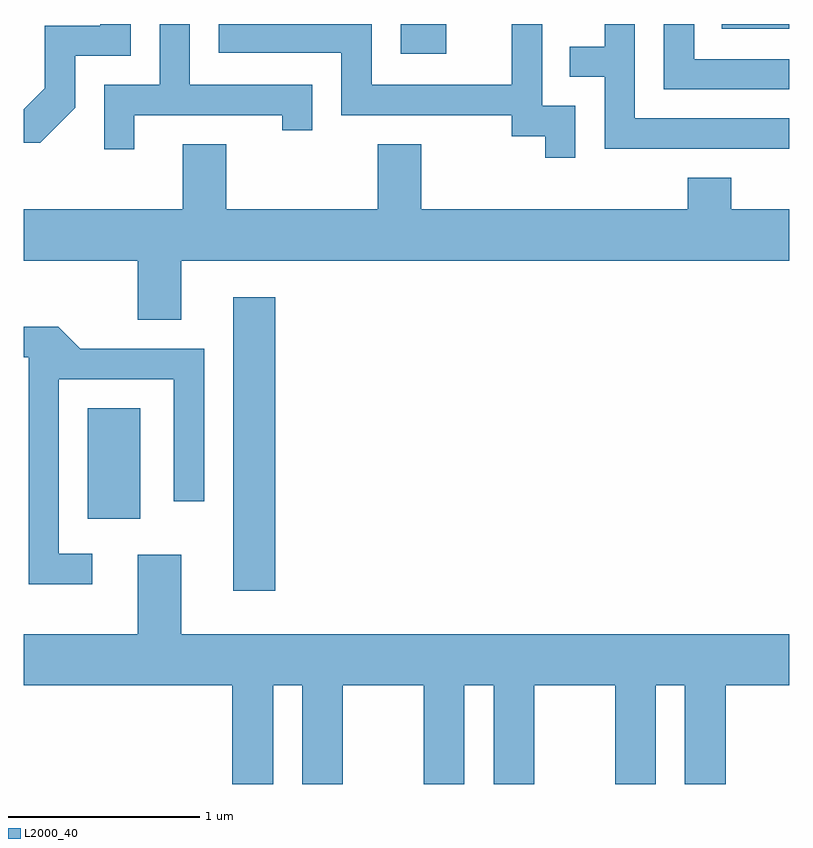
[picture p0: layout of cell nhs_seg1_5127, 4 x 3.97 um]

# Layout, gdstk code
import gdstk
lib = gdstk.Library(unit=1e-6, precision=1e-09)
def R(c, l, rs):  # rectangles x0, y0, x1, y1
    for r in rs: c.add(gdstk.rectangle(r[:2], r[2:], *l))
def P(c, l, *ps):  # polygons
    for p in ps: c.add(gdstk.Polygon(p, *l))
L2000_40 = (2000, 40)

nhs_seg1_5127 = lib.new_cell('nhs_seg1_5127')
R(nhs_seg1_5127, L2000_40, [(340.706,886.751,340.924,888.284), (339.946,887.126,340.219,887.704), (341.581,889.556,341.818,889.712), (343.258,889.686,343.611,889.712)])
P(nhs_seg1_5127, L2000_40, [(340.189,889.236),(340.961,889.236),(340.961,889.158),(341.119,889.158),(341.119,889.394),(340.479,889.394),(340.479,889.712),(340.321,889.712),(340.321,889.394),(340.031,889.394),(340.031,889.058),(340.189,889.058)],
  [(342.494,889.284),(342.319,889.284),(342.319,889.712),(342.161,889.712),(342.161,889.394),(341.429,889.394),(341.429,889.712),(340.631,889.712),(340.631,889.561),(341.271,889.561),(341.271,889.236),(342.161,889.236),(342.161,889.126),(342.336,889.126),(342.336,889.013),(342.494,889.013)],
  [(343.611,889.529),(343.114,889.529),(343.114,889.712),(342.956,889.712),(342.956,889.371),(343.611,889.371)],
  [(339.879,889.274),(339.879,889.546),(340.169,889.546),(340.169,889.712),(340.011,889.712),(340.011,889.704),(339.721,889.704),(339.721,889.377),(339.611,889.266),(339.611,889.091),(339.697,889.091)],
  [(343.611,889.219),(342.804,889.219),(342.804,889.712),(342.646,889.712),(342.646,889.594),(342.463,889.594),(342.463,889.436),(342.646,889.436),(342.646,889.061),(343.611,889.061)],
  [(340.434,888.476),(343.611,888.476),(343.611,888.744),(343.309,888.744),(343.309,888.909),(343.081,888.909),(343.081,888.744),(341.689,888.744),(341.689,889.084),(341.461,889.084),(341.461,888.744),(340.669,888.744),(340.669,889.084),(340.441,889.084),(340.441,888.744),(339.611,888.744),(339.611,888.476),(340.206,888.476),(340.206,888.166),(340.434,888.166)],
  [(339.968,886.944),(339.794,886.944),(339.794,887.856),(340.396,887.856),(340.396,887.218),(340.554,887.218),(340.554,888.014),(339.907,888.014),(339.792,888.129),(339.611,888.129),(339.611,887.971),(339.636,887.971),(339.636,886.786),(339.968,886.786)],
  [(340.914,886.256),(341.066,886.256),(341.066,885.741),(341.279,885.741),(341.279,886.256),(341.701,886.256),(341.701,885.741),(341.914,885.741),(341.914,886.256),(342.066,886.256),(342.066,885.741),(342.279,885.741),(342.279,886.256),(342.701,886.256),(342.701,885.741),(342.914,885.741),(342.914,886.256),(343.066,886.256),(343.066,885.741),(343.279,885.741),(343.279,886.256),(343.611,886.256),(343.611,886.524),(340.434,886.524),(340.434,886.939),(340.206,886.939),(340.206,886.524),(339.611,886.524),(339.611,886.256),(340.701,886.256),(340.701,885.741),(340.914,885.741)])

lib.write_gds('nhs_seg1_5127.gds')
